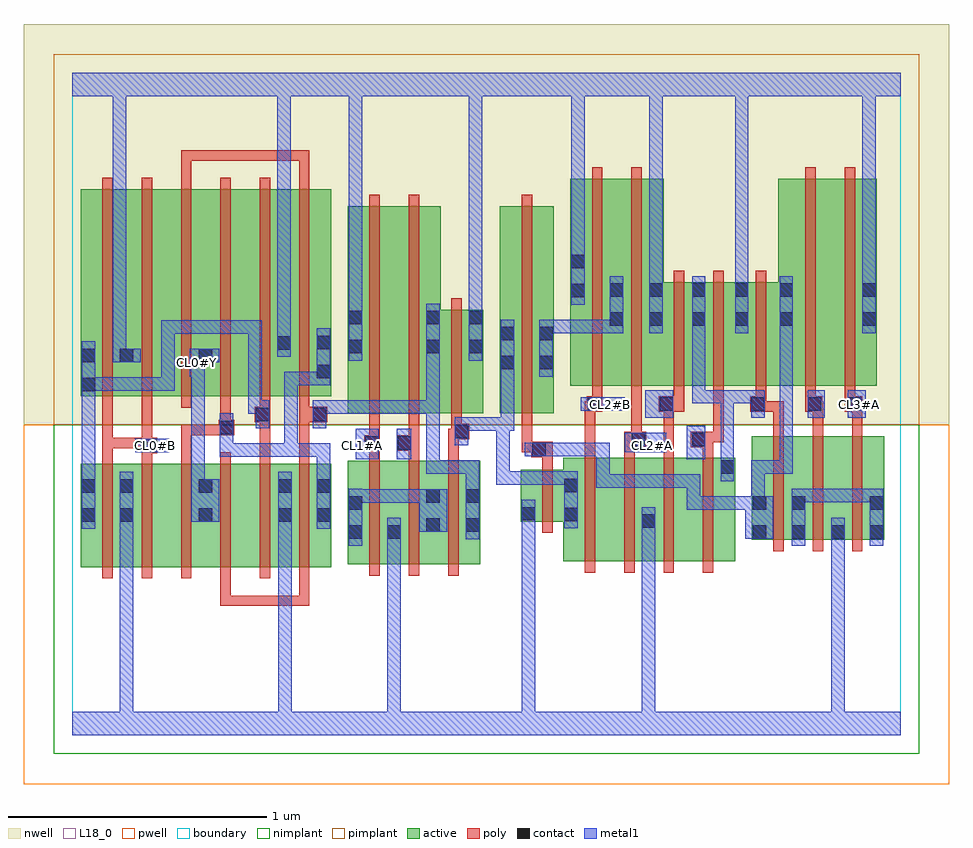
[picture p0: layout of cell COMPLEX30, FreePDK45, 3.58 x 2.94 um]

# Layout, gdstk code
import gdstk
lib = gdstk.Library(unit=1e-6, precision=1e-09)
def R(c, l, rs):  # rectangles x0, y0, x1, y1
    for r in rs: c.add(gdstk.rectangle(r[:2], r[2:], *l))
def A(c, l, x, y, w, h, nx, ny, dx, dy):  # array of equal rectangles
    R(c, l, [(x+i*dx, y+j*dy, x+i*dx+w, y+j*dy+h) for i in range(nx) for j in range(ny)])
active = (1, 0)
pwell = (2, 0)
nwell = (3, 0)
nimplant = (4, 0)
pimplant = (5, 0)
poly = (9, 0)
contact = (10, 0)
metal1 = (11, 0)
L18_0 = (18, 0)
boundary = (235, 0)

complex30 = lib.new_cell('COMPLEX30')
A(complex30, active, 2.224, 1.35, 0.06, 0.4, 3, 1, 0.166, 0)
R(complex30, active, [(0.032,0.65,0.092,1.05), (0.032,0.65,0.24,1.05), (0.18,0.65,0.24,1.05), (0.18,0.65,0.364,1.05), (0.364,0.65,0.544,1.05), (0.484,0.65,0.668,1.05), (0.668,0.65,0.852,1.05), (0.792,0.65,1,1.05), (0.792,0.65,0.852,0.994), (1.064,0.66,1.272,1.06), (1.212,0.66,1.424,1.06), (1.212,0.66,1.272,0.816), (1.364,0.66,1.576,1.06), (1.516,0.66,1.576,1.06), (1.896,0.672,2.076,1.072), (1.896,0.672,1.956,1.026), (2.076,0.672,2.256,1.072), (2.196,0.672,2.38,1.072), (2.196,0.672,2.256,0.858), (2.38,0.672,2.56,1.072), (0.484,0.756,0.544,1.05), (0.94,0.756,1,1.05), (1.064,0.756,1.124,1.06), (1.364,0.756,1.424,1.06), (2.5,0.756,2.56,1.072), (2.624,0.756,2.684,1.156), (2.624,0.756,2.836,1.156), (2.776,0.756,2.988,1.156), (2.776,0.756,2.836,0.928), (2.928,0.756,3.136,1.156), (2.928,0.756,2.988,0.816), (3.076,0.756,3.136,1.156), (1.732,0.826,1.956,1.026), (1.732,0.826,1.792,1.026), (1.064,1.244,1.244,2.044), (1.064,1.244,1.124,2.044), (1.244,1.244,1.424,2.044), (1.364,1.244,1.424,1.644), (1.364,1.244,1.588,1.644), (1.528,1.244,1.588,1.644), (1.652,1.244,1.86,2.044), (1.652,1.244,1.712,2.044), (1.8,1.244,1.86,2.044), (0.032,1.31,0.24,2.11), (0.032,1.31,0.092,2.044), (0.18,1.31,0.24,2.11), (0.18,1.31,0.364,2.11), (0.364,1.31,0.544,2.11), (0.484,1.31,0.668,2.11), (0.484,1.31,0.544,2.044), (0.668,1.31,0.848,2.11), (0.788,1.31,1,2.11), (0.788,1.31,0.848,2.11), (0.94,1.31,1,2.11), (1.924,1.35,2.132,2.15), (1.924,1.35,1.984,2.15), (2.072,1.35,2.132,2.044), (2.072,1.35,2.284,2.15), (2.224,1.35,2.45,1.75), (2.39,1.35,2.616,1.75), (2.556,1.35,2.788,1.75), (2.728,1.35,2.788,1.75), (2.728,1.35,2.928,2.15), (2.928,1.35,3.108,2.15), (3.048,1.35,3.108,2.044)])
R(complex30, pwell, [(-0.188,-0.188,3.388,1.2)])
R(complex30, nwell, [(-0.188,1.2,3.388,2.748)])
R(complex30, nimplant, [(-0.072,-0.072,3.272,1.2)])
R(complex30, pimplant, [(-0.072,1.2,3.272,2.632)])
A(complex30, poly, 0.116, 0.606, 0.04, 0.488, 6, 1, 0.152, 0)
A(complex30, poly, 1.148, 0.616, 0.04, 0.488, 3, 1, 0.152, 0)
A(complex30, poly, 1.98, 0.628, 0.04, 0.488, 4, 1, 0.152, 0)
A(complex30, poly, 2.708, 0.712, 0.04, 0.488, 3, 1, 0.152, 0)
A(complex30, poly, 2.708, 1.16, 0.04, 0.13, 3, 1, 0.152, 0)
A(complex30, poly, 0.116, 1.266, 0.04, 0.888, 6, 1, 0.152, 0)
A(complex30, poly, 2.008, 1.27, 0.04, 0.076, 3, 1, 0.316, 0)
R(complex30, poly, [(0.572,0.5,0.612,0.54), (0.572,0.5,0.612,0.646), (0.572,0.5,0.81,0.54), (0.77,0.5,0.81,0.54), (0.77,0.5,0.81,0.54), (0.77,0.5,0.81,0.54), (0.77,0.5,0.916,0.54), (0.876,0.5,0.916,0.54), (0.876,0.5,0.916,0.54), (0.876,0.5,0.916,0.54), (0.876,0.5,0.916,0.646), (1.816,0.782,1.856,1.07), (1.816,1.03,1.856,1.114), (0.116,1.054,0.156,1.15), (0.268,1.054,0.308,1.13), (0.42,1.054,0.46,1.2), (0.724,1.054,0.764,1.25), (0.876,1.054,0.916,1.25), (1.148,1.064,1.188,1.14), (1.3,1.064,1.34,1.14), (1.452,1.064,1.492,1.184), (1.772,1.074,1.856,1.134), (1.98,1.076,2.02,1.29), (2.132,1.076,2.172,1.152), (2.284,1.076,2.324,1.29), (2.436,1.076,2.476,1.152), (0.268,1.09,0.308,1.13), (0.268,1.09,0.308,1.13), (0.268,1.09,0.328,1.15), (1.736,1.094,1.776,1.24), (1.736,1.094,1.812,1.134), (1.772,1.094,1.812,1.134), (1.128,1.1,1.188,1.16), (1.254,1.1,1.34,1.16), (0.116,1.11,0.156,1.15), (0.116,1.11,0.156,1.15), (0.116,1.11,0.156,1.15), (0.116,1.11,0.156,1.306), (0.116,1.11,0.308,1.15), (0.268,1.11,0.308,1.15), (0.268,1.11,0.308,1.15), (0.268,1.11,0.308,1.306), (2.132,1.112,2.218,1.172), (2.39,1.112,2.476,1.172), (1.148,1.12,1.188,1.16), (1.148,1.12,1.188,1.16), (1.148,1.12,1.188,1.24), (1.3,1.12,1.34,1.16), (1.3,1.12,1.34,1.16), (1.3,1.12,1.34,1.24), (2.16,1.132,2.2,1.172), (2.16,1.132,2.2,1.172), (2.16,1.132,2.2,1.346), (2.436,1.132,2.476,1.172), (2.436,1.132,2.516,1.172), (2.476,1.132,2.516,1.346), (1.452,1.144,1.504,1.184), (1.464,1.144,1.504,1.184), (1.464,1.144,1.534,1.204), (0.42,1.16,0.46,1.2), (0.42,1.16,0.46,1.2), (0.42,1.16,0.46,1.2), (0.42,1.16,0.606,1.2), (0.566,1.16,0.626,1.22), (1.464,1.164,1.504,1.24), (0.572,1.18,0.612,1.22), (0.572,1.18,0.612,1.22), (0.572,1.18,0.612,1.306), (1.148,1.2,1.188,2.088), (1.3,1.2,1.34,2.088), (1.464,1.2,1.504,1.688), (1.736,1.2,1.776,2.088), (0.704,1.21,0.764,1.27), (0.724,1.21,0.764,1.25), (0.724,1.21,0.764,1.25), (0.876,1.21,0.916,1.25), (0.876,1.21,0.916,1.25), (0.876,1.21,0.984,1.27), (0.724,1.23,0.764,1.306), (0.876,1.23,0.916,1.306), (1.98,1.25,2.028,1.29), (1.988,1.25,2.028,1.29), (1.988,1.25,2.048,1.31), (2.266,1.25,2.364,1.31), (2.284,1.25,2.324,1.29), (2.284,1.25,2.324,1.29), (2.618,1.25,2.68,1.31), (2.64,1.25,2.68,1.29), (2.64,1.25,2.748,1.29), (2.832,1.25,2.898,1.31), (2.858,1.25,2.898,1.29), (2.858,1.25,2.9,1.29), (2.984,1.25,3.052,1.31), (3.012,1.25,3.052,1.29), (3.012,1.25,3.052,1.29), (2.832,1.27,2.872,1.346), (2.984,1.27,3.024,1.346), (2.008,1.306,2.048,2.194), (2.16,1.306,2.2,2.194), (2.324,1.306,2.364,1.794), (2.476,1.306,2.516,1.794), (2.64,1.306,2.68,1.794), (2.832,1.306,2.872,2.194), (2.984,1.306,3.024,2.194), (0.42,2.114,0.46,2.26), (0.876,2.114,0.916,2.26), (0.42,2.22,0.46,2.26), (0.42,2.22,0.46,2.26), (0.42,2.22,0.46,2.26), (0.42,2.22,0.628,2.26), (0.588,2.22,0.628,2.26), (0.588,2.22,0.628,2.26), (0.588,2.22,0.628,2.26), (0.588,2.22,0.748,2.26), (0.708,2.22,0.748,2.26), (0.708,2.22,0.916,2.26), (0.876,2.22,0.916,2.26), (0.876,2.22,0.916,2.26), (0.876,2.22,0.916,2.26)])
A(complex30, contact, 2.628, 0.76, 0.052, 0.052, 3, 1, 0.152, 0)
A(complex30, contact, 2.228, 1.582, 0.052, 0.052, 3, 2, 0.166, 0.112)
R(complex30, contact, [(1.068,0.76,1.12,0.812), (1.216,0.76,1.268,0.812), (3.08,0.76,3.132,0.812), (1.368,0.786,1.42,0.838), (1.52,0.786,1.572,0.838), (2.2,0.802,2.252,0.854), (0.036,0.826,0.088,0.878), (0.184,0.826,0.236,0.878), (0.488,0.826,0.54,0.878), (0.796,0.826,0.848,0.878), (0.944,0.826,0.996,0.878), (1.9,0.828,1.952,0.88), (1.736,0.83,1.788,0.882), (1.068,0.872,1.12,0.924), (2.628,0.872,2.68,0.924), (2.78,0.872,2.832,0.924), (3.08,0.872,3.132,0.924), (1.368,0.898,1.42,0.95), (1.52,0.898,1.572,0.95), (0.036,0.938,0.088,0.99), (0.184,0.938,0.236,0.99), (0.488,0.938,0.54,0.99), (0.796,0.938,0.848,0.99), (0.944,0.938,0.996,0.99), (1.9,0.94,1.952,0.992), (2.504,1.01,2.556,1.062), (1.776,1.078,1.828,1.13), (0.272,1.094,0.324,1.146), (1.132,1.104,1.184,1.156), (1.258,1.104,1.31,1.156), (2.162,1.116,2.214,1.168), (2.394,1.116,2.446,1.168), (1.478,1.148,1.53,1.2), (0.57,1.164,0.622,1.216), (0.708,1.214,0.76,1.266), (0.928,1.214,0.98,1.266), (1.992,1.254,2.044,1.306), (2.27,1.254,2.322,1.306), (2.622,1.254,2.674,1.306), (2.842,1.254,2.894,1.306), (2.996,1.254,3.048,1.306), (0.036,1.33,0.088,1.382), (0.944,1.38,0.996,1.432), (1.656,1.414,1.708,1.466), (1.804,1.414,1.856,1.466), (0.036,1.442,0.088,1.494), (0.184,1.442,0.236,1.494), (0.488,1.442,0.54,1.494), (1.068,1.476,1.12,1.528), (1.368,1.476,1.42,1.528), (1.532,1.476,1.584,1.528), (0.792,1.49,0.844,1.542), (0.944,1.492,0.996,1.544), (1.656,1.526,1.708,1.578), (1.804,1.526,1.856,1.578), (2.076,1.582,2.128,1.634), (2.732,1.582,2.784,1.634), (3.052,1.582,3.104,1.634), (1.068,1.588,1.12,1.64), (1.368,1.588,1.42,1.64), (1.532,1.588,1.584,1.64), (1.928,1.692,1.98,1.744), (2.076,1.694,2.128,1.746), (2.732,1.694,2.784,1.746), (3.052,1.694,3.104,1.746), (1.928,1.804,1.98,1.856)])
A(complex30, metal1, 2.228, 1.554, 0.052, 0.22, 3, 1, 0.166, 0)
R(complex30, metal1, [(0,0,3.2,0.092), (0.184,0.04,0.236,0.85), (0.796,0.04,0.848,0.85), (1.216,0.04,1.268,0.092), (1.216,0.04,1.268,0.092), (1.216,0.04,1.268,0.784), (1.736,0.04,1.788,0.092), (1.736,0.04,1.788,0.092), (1.736,0.04,1.788,0.092), (1.736,0.04,1.788,0.092), (1.736,0.04,1.788,0.092), (1.736,0.04,1.788,0.092), (1.736,0.04,1.788,0.092), (1.736,0.04,1.788,0.092), (1.736,0.04,1.788,0.092), (1.736,0.04,1.788,0.092), (1.736,0.04,1.788,0.854), (2.2,0.04,2.252,0.092), (2.2,0.04,2.252,0.092), (2.2,0.04,2.252,0.826), (2.932,0.04,2.984,0.284), (2.932,0.232,2.984,0.284), (2.932,0.232,2.984,0.284), (2.932,0.232,2.984,0.284), (2.932,0.232,2.984,0.284), (2.932,0.232,2.984,0.284), (2.932,0.232,2.984,0.284), (2.932,0.232,2.984,0.284), (2.932,0.232,2.984,0.284), (2.932,0.232,2.984,0.284), (2.932,0.232,2.984,0.284), (2.932,0.232,2.984,0.284), (2.932,0.232,2.984,0.784), (1.068,0.732,1.12,0.952), (1.216,0.732,1.268,0.784), (1.216,0.732,1.268,0.784), (1.216,0.732,1.268,0.784), (1.216,0.732,1.268,0.784), (1.216,0.732,1.268,0.784), (1.216,0.732,1.268,0.784), (1.216,0.732,1.268,0.784), (1.216,0.732,1.268,0.784), (1.216,0.732,1.268,0.784), (1.216,0.732,1.268,0.784), (1.216,0.732,1.268,0.84), (2.78,0.732,2.832,0.952), (2.932,0.732,2.984,0.84), (3.08,0.732,3.132,0.952), (1.52,0.758,1.572,0.978), (2.6,0.76,2.708,0.924), (2.2,0.774,2.252,0.826), (2.2,0.774,2.252,0.826), (2.2,0.774,2.252,0.826), (2.2,0.774,2.252,0.826), (2.2,0.774,2.252,0.826), (2.2,0.774,2.252,0.826), (2.2,0.774,2.252,0.826), (2.2,0.774,2.252,0.826), (2.2,0.774,2.252,0.826), (2.2,0.774,2.252,0.826), (2.2,0.774,2.252,0.882), (1.34,0.786,1.448,0.95), (0.036,0.798,0.088,1.018), (0.184,0.798,0.236,0.85), (0.184,0.798,0.236,0.85), (0.184,0.798,0.236,0.85), (0.184,0.798,0.236,0.85), (0.184,0.798,0.236,0.85), (0.184,0.798,0.236,0.85), (0.184,0.798,0.236,0.85), (0.184,0.798,0.236,0.85), (0.184,0.798,0.236,0.85), (0.184,0.798,0.236,0.85), (0.184,0.798,0.236,0.85), (0.184,0.798,0.236,0.85), (0.184,0.798,0.236,1.018), (0.796,0.798,0.848,0.85), (0.796,0.798,0.848,0.85), (0.796,0.798,0.848,0.85), (0.796,0.798,0.848,0.85), (0.796,0.798,0.848,0.85), (0.796,0.798,0.848,0.85), (0.796,0.798,0.848,0.85), (0.796,0.798,0.848,0.85), (0.796,0.798,0.848,0.85), (0.796,0.798,0.848,0.85), (0.796,0.798,0.848,0.85), (0.796,0.798,0.848,0.85), (0.796,0.798,0.848,1.018), (0.944,0.798,0.996,1.018), (1.9,0.8,1.952,1.02), (1.736,0.802,1.788,0.854), (1.736,0.802,1.788,0.854), (1.736,0.802,1.788,0.854), (1.736,0.802,1.788,0.854), (1.736,0.802,1.788,0.854), (1.736,0.802,1.788,0.854), (1.736,0.802,1.788,0.91), (0.46,0.826,0.568,0.99), (2.374,0.872,2.426,0.924), (2.374,0.872,2.542,0.924), (2.374,0.872,2.426,1.008), (2.49,0.872,2.542,0.924), (2.49,0.872,2.556,0.924), (2.504,0.872,2.556,0.924), (2.504,0.872,2.652,0.924), (2.622,0.872,2.674,0.924), (2.622,0.872,2.674,0.924), (2.622,0.872,2.674,1.062), (1.068,0.898,1.12,0.95), (1.068,0.898,1.12,0.95), (1.068,0.898,1.282,0.95), (1.23,0.898,1.282,0.95), (1.23,0.898,1.392,0.95), (1.34,0.898,1.392,0.95), (1.34,0.898,1.392,0.95), (2.78,0.9,2.894,0.952), (2.842,0.9,2.894,0.952), (2.842,0.9,2.942,0.952), (2.89,0.9,2.942,0.952), (2.89,0.9,3.132,0.952), (3.08,0.9,3.132,0.952), (3.08,0.9,3.132,0.952), (1.52,0.926,1.572,1.062), (0.46,0.938,0.512,1.438), (2.024,0.956,2.076,1.008), (2.024,0.956,2.076,1.008), (2.024,0.956,2.076,1.008), (2.024,0.956,2.316,1.008), (2.024,0.956,2.076,1.13), (2.264,0.956,2.316,1.008), (2.264,0.956,2.316,1.008), (2.264,0.956,2.316,1.008), (2.264,0.956,2.426,1.008), (2.374,0.956,2.426,1.008), (0.036,0.966,0.088,1.018), (0.036,0.966,0.088,1.018), (0.036,0.966,0.088,1.354), (0.944,0.966,0.996,1.128), (1.638,0.968,1.69,1.02), (1.638,0.968,1.69,1.02), (1.638,0.968,1.69,1.02), (1.638,0.968,1.69,1.02), (1.638,0.968,1.69,1.02), (1.638,0.968,1.952,1.02), (1.638,0.968,1.69,1.228), (2.504,0.982,2.556,1.09), (1.368,1.01,1.42,1.062), (1.368,1.01,1.572,1.062), (1.368,1.01,1.42,1.294), (1.52,1.01,1.572,1.062), (1.52,1.01,1.572,1.062), (1.52,1.01,1.572,1.062), (2.622,1.01,2.674,1.062), (2.622,1.01,2.784,1.062), (2.732,1.01,2.784,1.062), (2.732,1.01,2.784,1.062), (2.732,1.01,2.784,1.062), (2.732,1.01,2.784,1.606), (2.504,1.038,2.556,1.334), (1.094,1.066,1.184,1.184), (1.254,1.066,1.31,1.184), (2.374,1.066,2.446,1.196), (0.57,1.076,0.622,1.184), (0.57,1.076,0.87,1.128), (0.818,1.076,0.87,1.128), (0.818,1.076,0.87,1.128), (0.818,1.076,0.87,1.128), (0.818,1.076,0.87,1.128), (0.818,1.076,0.87,1.128), (0.818,1.076,0.996,1.128), (0.818,1.076,0.87,1.404), (0.944,1.076,0.996,1.128), (0.944,1.076,0.996,1.128), (0.944,1.076,0.996,1.128), (1.748,1.078,1.856,1.13), (1.804,1.078,1.856,1.13), (1.804,1.078,1.856,1.13), (1.804,1.078,1.966,1.13), (1.914,1.078,1.966,1.13), (1.914,1.078,1.966,1.13), (1.914,1.078,1.966,1.13), (1.914,1.078,2.076,1.13), (2.024,1.078,2.076,1.13), (0.244,1.094,0.374,1.146), (2.134,1.094,2.294,1.168), (1.478,1.12,1.53,1.228), (0.57,1.132,0.622,1.184), (0.57,1.132,0.622,1.244), (1.478,1.176,1.53,1.228), (1.478,1.176,1.53,1.228), (1.478,1.176,1.69,1.228), (1.638,1.176,1.708,1.228), (1.656,1.176,1.708,1.438), (0.708,1.186,0.76,1.294), (0.928,1.186,0.98,1.294), (2.214,1.226,2.322,1.334), (2.622,1.226,2.674,1.334), (2.842,1.226,2.906,1.334), (2.996,1.226,3.066,1.334), (0.68,1.242,0.732,1.294), (0.68,1.242,0.76,1.294), (0.68,1.242,0.732,1.604), (0.928,1.242,0.98,1.294), (0.928,1.242,0.98,1.294), (0.928,1.242,1.158,1.294), (1.106,1.242,1.158,1.294), (1.106,1.242,1.158,1.294), (1.106,1.242,1.158,1.294), (1.106,1.242,1.282,1.294), (1.23,1.242,1.282,1.294), (1.23,1.242,1.282,1.294), (1.23,1.242,1.282,1.294), (1.23,1.242,1.42,1.294), (1.368,1.242,1.42,1.294), (1.368,1.242,1.42,1.5), (1.964,1.254,2.134,1.306), (2.394,1.282,2.446,1.334), (2.394,1.282,2.446,1.334), (2.394,1.282,2.446,1.334), (2.394,1.282,2.556,1.334), (2.394,1.282,2.446,1.606), (2.504,1.282,2.556,1.334), (2.504,1.282,2.556,1.334), (2.504,1.282,2.556,1.334), (2.504,1.282,2.674,1.334), (2.622,1.282,2.674,1.334), (2.622,1.282,2.674,1.334), (0.036,1.302,0.088,1.354), (0.036,1.302,0.088,1.354), (0.036,1.302,0.088,1.522), (0.036,1.332,0.088,1.384), (0.036,1.332,0.088,1.384), (0.036,1.332,0.286,1.384), (0.234,1.332,0.286,1.384), (0.234,1.332,0.286,1.384), (0.234,1.332,0.286,1.384), (0.234,1.332,0.396,1.384), (0.344,1.332,0.396,1.384), (0.344,1.332,0.396,1.604), (0.818,1.352,0.87,1.404), (0.818,1.352,0.996,1.404), (0.944,1.352,0.996,1.404), (0.944,1.352,0.996,1.404), (0.944,1.352,0.996,1.572), (0.454,1.386,0.512,1.494), (1.656,1.386,1.708,1.606), (1.804,1.386,1.856,1.606), (0.156,1.442,0.208,1.494), (0.156,1.442,0.208,1.494), (0.156,1.442,0.208,1.494), (0.156,1.442,0.208,1.494), (0.156,1.442,0.208,1.494), (0.156,1.442,0.208,1.494), (0.156,1.442,0.264,1.494), (0.156,1.442,0.208,2.52), (0.46,1.442,0.512,1.494), (0.46,1.442,0.512,1.494), (0.46,1.442,0.512,1.494), (0.46,1.442,0.568,1.494), (1.068,1.448,1.12,1.668), (1.368,1.448,1.42,1.668), (1.532,1.448,1.584,1.668), (0.792,1.462,0.844,1.57), (0.792,1.518,0.844,1.57), (0.792,1.518,0.844,1.57), (0.792,1.518,0.844,1.57), (0.792,1.518,0.844,1.57), (0.792,1.518,0.844,2.52), (0.344,1.552,0.396,1.604), (0.344,1.552,0.396,1.604), (0.344,1.552,0.396,1.604), (0.344,1.552,0.512,1.604), (0.46,1.552,0.512,1.604), (0.46,1.552,0.512,1.604), (0.46,1.552,0.512,1.604), (0.46,1.552,0.732,1.604), (0.68,1.552,0.732,1.604), (0.68,1.552,0.732,1.604), (0.68,1.552,0.732,1.604), (1.804,1.554,1.966,1.606), (1.914,1.554,1.966,1.606), (1.914,1.554,1.966,1.606), (1.914,1.554,1.966,1.606), (1.914,1.554,2.128,1.606), (2.076,1.554,2.128,1.774), (2.732,1.554,2.784,1.606), (2.732,1.554,2.784,1.606), (2.732,1.554,2.784,1.774), (3.052,1.554,3.104,1.774), (1.068,1.616,1.12,1.668), (1.068,1.616,1.12,1.668), (1.068,1.616,1.12,1.668), (1.068,1.616,1.12,1.668), (1.068,1.616,1.12,1.668), (1.068,1.616,1.12,1.668), (1.068,1.616,1.12,1.668), (1.068,1.616,1.12,1.668), (1.068,1.616,1.12,2.52), (1.532,1.616,1.584,1.668), (1.532,1.616,1.584,1.668), (1.532,1.616,1.584,1.668), (1.532,1.616,1.584,1.668), (1.532,1.616,1.584,2.52), (1.928,1.664,1.98,1.884), (2.228,1.722,2.28,2.52), (2.56,1.722,2.612,2.52), (3.052,1.722,3.104,1.774), (3.052,1.722,3.104,1.774), (3.052,1.722,3.104,2.52), (1.928,1.832,1.98,2.52), (0,2.468,3.2,2.56), (0.156,2.468,0.208,2.52), (0.156,2.468,0.208,2.52), (0.792,2.468,0.844,2.52), (0.792,2.468,0.844,2.52), (0.792,2.468,0.844,2.52), (0.792,2.468,0.844,2.52), (1.532,2.468,1.584,2.52), (1.532,2.468,1.584,2.52), (1.532,2.468,1.584,2.52), (1.532,2.468,1.584,2.52), (1.532,2.468,1.584,2.52), (1.532,2.468,1.584,2.52), (1.532,2.468,1.584,2.52), (1.532,2.468,1.584,2.52), (1.532,2.468,1.584,2.52), (1.532,2.468,1.584,2.52), (1.532,2.468,1.584,2.52), (1.532,2.468,1.584,2.52), (1.928,2.468,1.98,2.52), (1.928,2.468,1.98,2.52), (1.928,2.468,1.98,2.52), (1.928,2.468,1.98,2.52), (1.928,2.468,1.98,2.52), (1.928,2.468,1.98,2.52), (1.928,2.468,1.98,2.52), (1.928,2.468,1.98,2.52), (2.228,2.468,2.28,2.52), (2.228,2.468,2.28,2.52), (2.228,2.468,2.28,2.52), (2.228,2.468,2.28,2.52), (2.228,2.468,2.28,2.52), (2.228,2.468,2.28,2.52), (2.228,2.468,2.28,2.52), (2.228,2.468,2.28,2.52), (2.56,2.468,2.612,2.52), (2.56,2.468,2.612,2.52), (2.56,2.468,2.612,2.52), (2.56,2.468,2.612,2.52), (2.56,2.468,2.612,2.52), (2.56,2.468,2.612,2.52), (2.56,2.468,2.612,2.52), (2.56,2.468,2.612,2.52), (2.56,2.468,2.612,2.52), (2.56,2.468,2.612,2.52), (2.56,2.468,2.612,2.52), (2.56,2.468,2.612,2.52), (2.56,2.468,2.612,2.52), (2.56,2.468,2.612,2.52), (2.56,2.468,2.612,2.52), (2.56,2.468,2.612,2.52), (3.052,2.468,3.104,2.52), (3.052,2.468,3.104,2.52), (3.052,2.468,3.104,2.52), (3.052,2.468,3.104,2.52), (3.052,2.468,3.104,2.52), (3.052,2.468,3.104,2.52)])
R(complex30, L18_0, [(0,0,3.2,0.092), (0.184,0.04,0.236,0.85), (0.796,0.04,0.848,0.85), (1.216,0.04,1.268,0.092), (1.216,0.04,1.268,0.092), (1.216,0.04,1.268,0.784), (1.736,0.04,1.788,0.092), (1.736,0.04,1.788,0.092), (1.736,0.04,1.788,0.092), (1.736,0.04,1.788,0.092), (1.736,0.04,1.788,0.092), (1.736,0.04,1.788,0.092), (1.736,0.04,1.788,0.092), (1.736,0.04,1.788,0.092), (1.736,0.04,1.788,0.092), (1.736,0.04,1.788,0.092), (1.736,0.04,1.788,0.854), (2.2,0.04,2.252,0.092), (2.2,0.04,2.252,0.092), (2.2,0.04,2.252,0.826), (2.932,0.04,2.984,0.284), (2.932,0.232,2.984,0.284), (2.932,0.232,2.984,0.284), (2.932,0.232,2.984,0.284), (2.932,0.232,2.984,0.284), (2.932,0.232,2.984,0.284), (2.932,0.232,2.984,0.284), (2.932,0.232,2.984,0.284), (2.932,0.232,2.984,0.284), (2.932,0.232,2.984,0.284), (2.932,0.232,2.984,0.284), (2.932,0.232,2.984,0.284), (2.932,0.232,2.984,0.784), (1.216,0.732,1.268,0.784), (1.216,0.732,1.268,0.784), (1.216,0.732,1.268,0.784), (1.216,0.732,1.268,0.784), (1.216,0.732,1.268,0.784), (1.216,0.732,1.268,0.784), (1.216,0.732,1.268,0.784), (1.216,0.732,1.268,0.784), (1.216,0.732,1.268,0.784), (1.216,0.732,1.268,0.784), (1.216,0.732,1.268,0.84), (2.932,0.732,2.984,0.84), (2.2,0.774,2.252,0.826), (2.2,0.774,2.252,0.826), (2.2,0.774,2.252,0.826), (2.2,0.774,2.252,0.826), (2.2,0.774,2.252,0.826), (2.2,0.774,2.252,0.826), (2.2,0.774,2.252,0.826), (2.2,0.774,2.252,0.826), (2.2,0.774,2.252,0.826), (2.2,0.774,2.252,0.826), (2.2,0.774,2.252,0.882), (0.184,0.798,0.236,0.85), (0.184,0.798,0.236,0.85), (0.184,0.798,0.236,0.85), (0.184,0.798,0.236,0.85), (0.184,0.798,0.236,0.85), (0.184,0.798,0.236,0.85), (0.184,0.798,0.236,0.85), (0.184,0.798,0.236,0.85), (0.184,0.798,0.236,0.85), (0.184,0.798,0.236,0.85), (0.184,0.798,0.236,0.85), (0.184,0.798,0.236,0.85), (0.184,0.798,0.236,1.018), (0.796,0.798,0.848,0.85), (0.796,0.798,0.848,0.85), (0.796,0.798,0.848,0.85), (0.796,0.798,0.848,0.85), (0.796,0.798,0.848,0.85), (0.796,0.798,0.848,0.85), (0.796,0.798,0.848,0.85), (0.796,0.798,0.848,0.85), (0.796,0.798,0.848,0.85), (0.796,0.798,0.848,0.85), (0.796,0.798,0.848,0.85), (0.796,0.798,0.848,0.85), (0.796,0.798,0.848,1.018), (1.736,0.802,1.788,0.854), (1.736,0.802,1.788,0.854), (1.736,0.802,1.788,0.854), (1.736,0.802,1.788,0.854), (1.736,0.802,1.788,0.854), (1.736,0.802,1.788,0.854), (1.736,0.802,1.788,0.91), (0.46,0.826,0.568,0.99), (0.46,0.938,0.512,1.438), (1.094,1.066,1.184,1.184), (1.254,1.066,1.31,1.184), (2.374,1.066,2.446,1.196), (0.244,1.094,0.374,1.146), (0.294,1.094,0.346,1.146), (1.094,1.094,1.146,1.146), (1.254,1.094,1.306,1.146), (2.134,1.094,2.294,1.168), (2.214,1.094,2.266,1.146), (2.374,1.094,2.426,1.146), (2.214,1.226,2.322,1.334), (2.842,1.226,2.906,1.334), (2.996,1.226,3.066,1.334), (1.964,1.254,2.134,1.306), (2.054,1.254,2.106,1.306), (2.214,1.254,2.266,1.306), (2.854,1.254,2.906,1.306), (3.014,1.254,3.066,1.306), (0.454,1.386,0.512,1.494), (0.454,1.414,0.506,1.466), (0.156,1.442,0.208,1.494), (0.156,1.442,0.208,1.494), (0.156,1.442,0.208,1.494), (0.156,1.442,0.208,1.494), (0.156,1.442,0.208,1.494), (0.156,1.442,0.208,1.494), (0.156,1.442,0.264,1.494), (0.156,1.442,0.208,2.52), (0.46,1.442,0.512,1.494), (0.46,1.442,0.512,1.494), (0.46,1.442,0.512,1.494), (0.46,1.442,0.568,1.494), (1.068,1.448,1.12,1.668), (1.532,1.448,1.584,1.668), (0.792,1.462,0.844,1.57), (0.792,1.518,0.844,1.57), (0.792,1.518,0.844,1.57), (0.792,1.518,0.844,1.57), (0.792,1.518,0.844,1.57), (0.792,1.518,0.844,2.52), (2.228,1.554,2.28,1.774), (2.56,1.554,2.612,1.774), (3.052,1.554,3.104,1.774), (1.068,1.616,1.12,1.668), (1.068,1.616,1.12,1.668), (1.068,1.616,1.12,1.668), (1.068,1.616,1.12,1.668), (1.068,1.616,1.12,1.668), (1.068,1.616,1.12,1.668), (1.068,1.616,1.12,1.668), (1.068,1.616,1.12,1.668), (1.068,1.616,1.12,2.52), (1.532,1.616,1.584,1.668), (1.532,1.616,1.584,1.668), (1.532,1.616,1.584,1.668), (1.532,1.616,1.584,1.668), (1.532,1.616,1.584,2.52), (1.928,1.664,1.98,1.884), (2.228,1.722,2.28,2.52), (2.56,1.722,2.612,2.52), (3.052,1.722,3.104,1.774), (3.052,1.722,3.104,1.774), (3.052,1.722,3.104,2.52), (1.928,1.832,1.98,2.52), (0,2.468,3.2,2.56), (0.156,2.468,0.208,2.52), (0.156,2.468,0.208,2.52), (0.792,2.468,0.844,2.52), (0.792,2.468,0.844,2.52), (0.792,2.468,0.844,2.52), (0.792,2.468,0.844,2.52), (1.532,2.468,1.584,2.52), (1.532,2.468,1.584,2.52), (1.532,2.468,1.584,2.52), (1.532,2.468,1.584,2.52), (1.532,2.468,1.584,2.52), (1.532,2.468,1.584,2.52), (1.532,2.468,1.584,2.52), (1.532,2.468,1.584,2.52), (1.532,2.468,1.584,2.52), (1.532,2.468,1.584,2.52), (1.532,2.468,1.584,2.52), (1.532,2.468,1.584,2.52), (1.928,2.468,1.98,2.52), (1.928,2.468,1.98,2.52), (1.928,2.468,1.98,2.52), (1.928,2.468,1.98,2.52), (1.928,2.468,1.98,2.52), (1.928,2.468,1.98,2.52), (1.928,2.468,1.98,2.52), (1.928,2.468,1.98,2.52), (2.228,2.468,2.28,2.52), (2.228,2.468,2.28,2.52), (2.228,2.468,2.28,2.52), (2.228,2.468,2.28,2.52), (2.228,2.468,2.28,2.52), (2.228,2.468,2.28,2.52), (2.228,2.468,2.28,2.52), (2.228,2.468,2.28,2.52), (2.56,2.468,2.612,2.52), (2.56,2.468,2.612,2.52), (2.56,2.468,2.612,2.52), (2.56,2.468,2.612,2.52), (2.56,2.468,2.612,2.52), (2.56,2.468,2.612,2.52), (2.56,2.468,2.612,2.52), (2.56,2.468,2.612,2.52), (2.56,2.468,2.612,2.52), (2.56,2.468,2.612,2.52), (2.56,2.468,2.612,2.52), (2.56,2.468,2.612,2.52), (2.56,2.468,2.612,2.52), (2.56,2.468,2.612,2.52), (2.56,2.468,2.612,2.52), (2.56,2.468,2.612,2.52), (3.052,2.468,3.104,2.52), (3.052,2.468,3.104,2.52), (3.052,2.468,3.104,2.52), (3.052,2.468,3.104,2.52), (3.052,2.468,3.104,2.52), (3.052,2.468,3.104,2.52)])
R(complex30, boundary, [(0,0,3.2,2.56)])
complex30.add(gdstk.Label('CL0#B', (0.32,1.12), layer=11, texttype=0))
complex30.add(gdstk.Label('CL0#Y', (0.48,1.44), layer=11, texttype=0))
complex30.add(gdstk.Label('CL1#A', (1.12,1.12), layer=11, texttype=0))
complex30.add(gdstk.Label('CL1#B', (1.28,1.12), layer=11, texttype=0))
complex30.add(gdstk.Label('CL2#A', (2.24,1.12), layer=11, texttype=0))
complex30.add(gdstk.Label('CL2#B', (2.08,1.28), layer=11, texttype=0))
complex30.add(gdstk.Label('CL3#A', (3.04,1.28), layer=11, texttype=0))
complex30.add(gdstk.Label('CL3#B', (2.88,1.28), layer=11, texttype=0))
complex30.add(gdstk.Label('CL4#A', (2.24,1.28), layer=11, texttype=0))
complex30.add(gdstk.Label('CL4#B', (2.4,1.12), layer=11, texttype=0))

lib.write_gds('COMPLEX30.gds')
